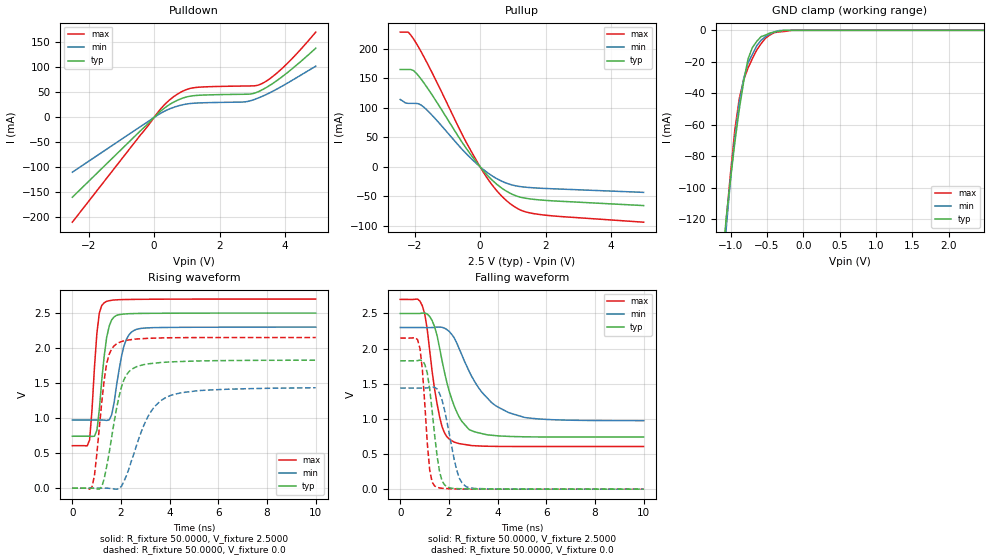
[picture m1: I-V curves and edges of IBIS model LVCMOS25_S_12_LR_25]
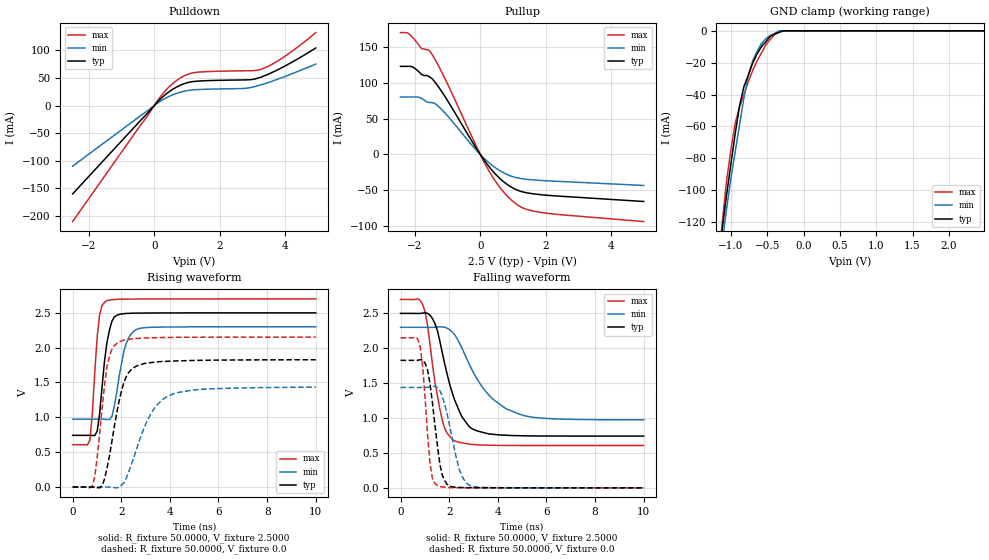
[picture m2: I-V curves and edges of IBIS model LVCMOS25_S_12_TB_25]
| / 7\'7
| \ \   Xilinx Inc.
| / /
| \_\/.\   IBIS Models for Spartan-3A
[IBIS ver]   3.2
[File name]   main.ibs
[File Rev]   2.3
[Date]   Sat Nov 30 15:29:39 2019
[Source]   HSPICE simulations
[Notes]   IBIS models for Spartan-3A Platform
[Disclaimer]
|   The data in this model is derived from SPICE simulations using
|   modeling information extracted from the target process. While
|   a great deal of care has been taken to provide information
|   that is accurate, this model is considered preliminary as it
|   has not been verified by actual silicon measurement. Treat the
|   data in this model as preliminary until actual silicon
|   verification is performed.
|   To accurately model package parasitics, please follow the
|   instructions at:  http://www.xilinx.com/xlnx/
|   xil_ans_display.jsp?getPagePath=11754
|   LVDS and LVPECL drivers require the use of external
|   termination resistors to provide the correct voltage levels.
|   For more information, refer to the Spartan-3 documentation.
|   NOTE: This file is compliant with IBIS Version 3.2, but it
|   may not implement all approved 3.2 features.
|   NOTE:  Newer versions of the buffer models may be available.
|   Check the web (http://www.xilinx.com/support/sw_ibis.htm) for
|   the latest file revision.  However, please be aware that the
|   web files are not compatible for use with IBISWriter, and
|   must be manually annotated, should their use be preferred.
[Copyright]
| Copyright 2006, Xilinx Inc., All rights reserved
|   Component Spartan-3A
[Component]   Spartan-3A
[Manufacturer]   Xilinx Inc.
[Package]
| For Package Type vq100
| variable   typ   min   max
R_pkg   91.25m   83.0m   100.0m
L_pkg   4.68nH   4.0nH   5.4nH
C_pkg   0.65pF   0.6pF   0.7pF
[Pin]  signal_name   model_name
P70   SevenSegBus<0>   LVCMOS25_S_12_LR_25
P64   SevenSegBus<1>   LVCMOS25_S_12_LR_25
P98   SevenSegBus<2>   LVCMOS25_S_12_TB_25
P73   SevenSegBus<3>   LVCMOS25_S_12_LR_25
P72   SevenSegBus<4>   LVCMOS25_S_12_LR_25
P65   SevenSegBus<5>   LVCMOS25_S_12_LR_25
P62   SevenSegBus<6>   LVCMOS25_S_12_LR_25
P71   SevenSegBus<7>   LVCMOS25_S_12_LR_25
P40   clk   LVCMOS25_S_12_TB_25
P35   Show   LVCMOS25_S_12_TB_25
P16   life<0>   LVCMOS25_S_12_LR_25
P13   life<1>   LVCMOS25_S_12_LR_25
P6   life<2>   LVCMOS25_S_12_LR_25
P78   UpDown   LVCMOS25_S_12_TB_25
P50   SevenSegControl<0>   LVCMOS25_S_12_TB_25
P49   SevenSegControl<1>   LVCMOS25_S_12_TB_25
P52   SevenSegControl<2>   LVCMOS25_S_12_TB_25
P56   SevenSegControl<3>   LVCMOS25_S_12_LR_25
P59   SevenSegControl<4>   LVCMOS25_S_12_LR_25
P57   SevenSegControl<5>   LVCMOS25_S_12_LR_25
P60   SevenSegControl<6>   LVCMOS25_S_12_LR_25
P61   SevenSegControl<7>   LVCMOS25_S_12_LR_25
P15   Switch<0>   LVCMOS25_S_12_LR_25
P12   Switch<1>   LVCMOS25_S_12_LR_25
P5   Switch<2>   LVCMOS25_S_12_LR_25
P4   Switch<3>   LVCMOS25_S_12_LR_25
P94   Switch<4>   LVCMOS25_S_12_TB_25
P90   Switch<5>   LVCMOS25_S_12_TB_25
P88   Switch<6>   LVCMOS25_S_12_TB_25
P85   Switch<7>   LVCMOS25_S_12_TB_25
P2   TDI   LVCMOS25_S_12_TB_25
P1   TMS   LVCMOS25_S_12_TB_25
P3   IO_L01P_3   NC
P7   IP_3/VREF_3   NC
P8   GND   GND
P9   LHCLK0   NC
P10   LHCLK1   NC
P11   VCCO_3   POWER
P14   GND   GND
P17   VCCINT   POWER
P18   GND   GND
P19   IO_L06P_3   NC
P20   IO_L06N_3   NC
P21   3   NC
P22   VCCAUX   POWER
P23   M1   LVCMOS25_S_12_TB_25
P25   M0   LVCMOS25_S_12_TB_25
P24   M2   LVCMOS25_S_12_TB_25
P27   CSO_B   LVCMOS25_S_12_TB_25
P26   VCCO_2   POWER
P28   RDWR_B   LVCMOS25_S_12_TB_25
P29   VS2   LVCMOS25_S_12_TB_25
P30   VS1   LVCMOS25_S_12_TB_25
P31   VS0   LVCMOS25_S_12_TB_25
P32   IO_L05P_2   NC
P33   IO_L06P_2   NC
P34   D7   LVCMOS25_S_12_TB_25
P36   D5   LVCMOS25_S_12_TB_25
P37   D4   LVCMOS25_S_12_TB_25
P38   VCCINT   POWER
P39   IP_2/VREF_2   NC
P41   GCLK15   NC
P42   GND   GND
P43   GCLK0   NC
P44   GCLK1   NC
P45   VCCO_2   POWER
P46   2/MOSI/CSI_B   NC
P47   GND   GND
P48   INIT_B   LVCMOS25_S_12_TB_25
P51   D0/DIN/MISO   LVCMOS25_S_12_TB_25
P53   CCLK   LVCMOS25_S_12_TB_25
P54   DONE   LVCMOS25_S_12_TB_25
P55   VCCAUX   POWER
P58   GND   GND
P63   GND   GND
P66   VCCINT   POWER
P67   VCCO_1   POWER
P68   IP_1/VREF_1   NC
P69   GND   GND
P74   GND   GND
P75   TDO   LVCMOS25_S_12_TB_25
P76   TCK   LVCMOS25_S_12_TB_25
P77   IO_L01P_0/VREF_0   NC
P80   GND   GND
P79   VCCO_0   POWER
P81   VCCINT   POWER
P83   GCLK4   NC
P84   GCLK5   NC
P82   IP_0/VREF_0   NC
P86   GCLK7   NC
P87   GND   GND
P89   GCLK9   NC
P91   GND   GND
P92   VCCAUX   POWER
P93   IO_L05P_0   NC
P96   VCCO_0   POWER
P95   GND   GND
P97   0   NC
P99   PUDC_B   LVCMOS25_S_12_TB_25
P100   PROG_B   LVCMOS25_S_12_TB_25
| Models and submodels in the file (2): LVCMOS25_S_12_LR_25 (I/O), LVCMOS25_S_12_TB_25 (I/O)
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|   Model LVCMOS25_S_12_LR_25
[Model]  LVCMOS25_S_12_LR_25
Model_type I/O
Polarity   Non-Inverting
Enable   Active-Low
Vinl =   0.7000V
Vinh =   1.7000V
Vmeas =  1.2500V
Cref =   0.0F
Rref =   1.0000M
Vref =   0.0V
C_comp   6.5640pF   6.1748pF   7.0674pF
[Temperature Range]   27.0000   85.0000   0.0
[Voltage Range]   2.5000V   2.3000V   2.7000V
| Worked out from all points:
|   slope of the pulldown table from 0 to 0.375 V, typ, clamps not added: 17.4 ohm
|   slope of the pullup table from 0 to 0.375 V, typ, clamps not added: 16.4 ohm
|   GND clamp passes 1 mA (typ) near -0.39 V on its own axis
|   rising waveform, R_fixture 50.0000, V_fixture 2.5000: 20-80 % time 309ps typ, 402ps min, 246ps max; typ from 0.741 V to 2.5 V
|   rising waveform, R_fixture 50.0000, V_fixture 0.0: 20-80 % time 593ps typ, 1.01ns min, 396ps max; typ from 0 V to 1.83 V
|   falling waveform, R_fixture 50.0000, V_fixture 2.5000: 20-80 % time 792ps typ, 1.35ns min, 515ps max; typ from 2.5 V to 0.742 V
|   falling waveform, R_fixture 50.0000, V_fixture 0.0: 20-80 % time 368ps typ, 508ps min, 267ps max; typ from 1.83 V to 0 V
[Pulldown]
|Voltage   I(typ)   I(min)   I(max)
-2.5V     -159.9mA   -109.8mA   -209.9mA
140mV     9.02mA     5.955mA    12.23mA
540mV     28.46mA    18.77mA    38.54mA
860mV     38.26mA    25.07mA    52mA
1.18V     43.25mA    28.19mA    59.07mA
2.78V     46.33mA    31.11mA    62.83mA
3.02V     47.67mA    34.87mA    63.08mA
3.26V     53.78mA    40.89mA    66.54mA
3.58V     65.97mA    50.78mA    79.56mA
3.98V     84.81mA    65.07mA    102.3mA
4.46V     110.7mA    83.66mA    134.7mA
4.94V     138.5mA    102.5mA    170.8mA
[Pullup]
|Voltage   I(typ)   I(min)   I(max)
-2.44V    164.6mA    113.8mA    227.9mA
-2.2V     164.6mA    107.3mA    227.9mA
-1.96V    158.9mA    107.3mA    209.9mA
-1.8V     148.2mA    104.3mA    194.5mA
-1.56V    129.3mA    92.53mA    169.4mA
-520mV    38.96mA    27.8mA     51.69mA
-40mV     2.817mA    1.95mA     3.801mA
440mV     -26.24mA   -17.88mA   -35.85mA
920mV     -44.84mA   -29.86mA   -62.44mA
1.32V     -52.59mA   -34.16mA   -75.09mA
1.8V      -55.98mA   -36.17mA   -80.61mA
5V        -65.68mA   -43.34mA   -93.79mA
[GND_clamp]
|Voltage   I(typ)   I(min)   I(max)
-2.5V     -904.1mA   -962.6mA   -1.02A
-1.12V    -152.2mA   -160.4mA   -158.5mA
-1.06V    -119.5mA   -126.2mA   -121mA
-940mV    -70.9mA    -68mA      -62.9mA
-880mV    -50.2mA    -46.2mA    -43.4mA
-820mV    -32.8mA    -30.8mA    -31.5mA
-760mV    -18.2mA    -20.7mA    -24mA
-700mV    -11mA      -15.3mA    -18mA
-580mV    -4mA       -6.3mA     -8.5mA
-400mV    -1.1mA     -1mA       -1.5mA
-160mV    0A         0A         0A
2.48V     0A         0A         0A
[POWER_clamp]
|Voltage   I(typ)   I(min)   I(max)
-2.49V    0A         0A         0A
-2.46V    0A         0A         0A
-2.43V    0A         0A         0A
0V        0A         0A         0A
[Ramp]
dV/dt_r  1.0956/0.5862n   0.8598/0.9979n   1.2900/0.3962n
dV/dt_f  1.0551/0.7920n   0.7953/1.3342n   1.2559/0.5052n
R_load = 50.0000
[Rising Waveform]
R_fixture= 50.0000
V_fixture= 2.5000
V_fixture_min= 2.3000
V_fixture_max= 2.7000
|time   V(typ)   V(min)   V(max)
0s        741.4mV    973.3mV    606.9mV
710ps     741.3mV    973.3mV    689.3mV
1.01ns    825.6mV    973.4mV    2.214V
1.11ns    1.123V     973.4mV    2.501V
1.21ns    1.546V     973.3mV    2.608V
1.41ns    2.151V     966.5mV    2.667V
1.62ns    2.403V     1.051V     2.682V
2.12ns    2.485V     2.028V     2.692V
2.63ns    2.493V     2.266V     2.695V
10ns      2.499V     2.299V     2.699V
[Rising Waveform]
R_fixture= 50.0000
V_fixture= 0.0
|time   V(typ)   V(min)   V(max)
0s        0V         0V         0V
810ps     278.4uV    -351nV     20.1mV
910ps     -2.334mV   -1.784uV   181mV
1.21ns    21.14mV    12.63uV    1.229V
1.41ns    307.8mV    486.8uV    1.781V
1.82ns    1.143V     -13.84mV   2.061V
2.32ns    1.661V     269.7mV    2.115V
3.13ns    1.775V     1.037V     2.139V
3.84ns    1.798V     1.293V     2.146V
10ns      1.826V     1.433V     2.15V
[Falling Waveform]
R_fixture= 50.0000
V_fixture= 2.5000
V_fixture_min= 2.3000
V_fixture_max= 2.7000
|time   V(typ)   V(min)   V(max)
0s        2.5V       2.3V       2.7V
910ps     2.505V     2.3V       2.607V
1.11ns    2.492V     2.299V     2.271V
1.31ns    2.399V     2.3V       1.675V
1.62ns    2.003V     2.306V     1.026V
2.12ns    1.277V     2.2V       688.2mV
2.83ns    848.3mV    1.677V     625.9mV
3.74ns    767.5mV    1.236V     609.7mV
4.44ns    751.2mV    1.092V     607.5mV
10ns      741.5mV    974.5mV    606.9mV
[Falling Waveform]
R_fixture= 50.0000
V_fixture= 0.0
|time   V(typ)   V(min)   V(max)
0s        1.827V     1.439V     2.15V
610ps     1.827V     1.439V     2.157V
810ps     1.836V     1.439V     2.003V
1.01ns    1.775V     1.439V     1.204V
1.21ns    1.425V     1.447V     270.8mV
1.41ns    776.9mV    1.45V      46.39mV
1.72ns    115.7mV    1.265V     12.95mV
2.32ns    8.435mV    272.2mV    3.137mV
2.73ns    4.539mV    30.57mV    1.395mV
10ns      1.172uV    117uV      58.56uV
|   Model LVCMOS25_S_12_TB_25
[Model]  LVCMOS25_S_12_TB_25
Model_type I/O
Polarity   Non-Inverting
Enable   Active-Low
Vinl =   0.7000V
Vinh =   1.7000V
Vmeas =  1.2500V
Cref =   0.0F
Rref =   1.0000M
Vref =   0.0V
C_comp   6.5640pF   6.1748pF   7.0674pF
[Temperature Range]   27.0000   85.0000   0.0
[Voltage Range]   2.5000V   2.3000V   2.7000V
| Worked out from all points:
|   slope of the pulldown table from 0 to 0.375 V, typ, clamps not added: 17.4 ohm
|   slope of the pullup table from 0 to 0.375 V, typ, clamps not added: 16.4 ohm
|   GND clamp passes 1 mA (typ) near -0.34 V on its own axis
|   rising waveform, R_fixture 50.0000, V_fixture 2.5000: 20-80 % time 334ps typ, 429ps min, 247ps max; typ from 0.741 V to 2.5 V
|   rising waveform, R_fixture 50.0000, V_fixture 0.0: 20-80 % time 609ps typ, 1.02ns min, 397ps max; typ from 0 V to 1.83 V
|   falling waveform, R_fixture 50.0000, V_fixture 2.5000: 20-80 % time 840ps typ, 1.44ns min, 552ps max; typ from 2.5 V to 0.742 V
|   falling waveform, R_fixture 50.0000, V_fixture 0.0: 20-80 % time 385ps typ, 550ps min, 278ps max; typ from 1.83 V to 0 V
[Pulldown]
|Voltage   I(typ)   I(min)   I(max)
-2.5V     -159.9mA   -109.7mA   -209.9mA
140mV     9.02mA     5.955mA    12.23mA
380mV     21.73mA    14.35mA    29.41mA
620mV     31.35mA    20.65mA    42.48mA
940mV     39.99mA    26.14mA    54.42mA
1.26V     43.77mA    28.56mA    59.79mA
2.78V     46.32mA    30.97mA    62.83mA
3.02V     47.28mA    33.45mA    63.07mA
3.26V     51.27mA    37.32mA    65.38mA
3.58V     59.1mA     43.46mA    73.84mA
3.98V     70.87mA    52.08mA    88.42mA
4.94V     104.1mA    74.91mA    131.9mA
[Pullup]
|Voltage   I(typ)   I(min)   I(max)
-2.44V    123.1mA    80.33mA    170.3mA
-2.2V     123.1mA    80.33mA    169.2mA
-1.8V     111.9mA    78.39mA    148mA
-1.56V    108.7mA    72.56mA    145.5mA
-1.48V    106.1mA    72.56mA    140.2mA
-1.16V    86.53mA    61.81mA    113.4mA
200mV     -13.04mA   -8.956mA   -17.71mA
600mV     -33.58mA   -22.74mA   -46.12mA
1.08V     -48.8mA    -32.15mA   -68.56mA
1.4V      -53.38mA   -34.61mA   -76.46mA
1.96V     -56.7mA    -36.63mA   -81.69mA
5V        -65.74mA   -43.34mA   -93.79mA
[GND_clamp]
|Voltage   I(typ)   I(min)   I(max)
-2.5V     -677.7mA   -618.7mA   -772.5mA
-1.12V    -125mA     -133.4mA   -121.2mA
-1.06V    -103.6mA   -112.3mA   -94.8mA
-940mV    -64.68mA   -75.98mA   -58mA
-880mV    -47mA      -59.03mA   -48mA
-820mV    -35mA      -42.08mA   -40mA
-760mV    -28mA      -28mA      -32mA
-640mV    -14.67mA   -13mA      -19mA
-580mV    -10mA      -8mA       -14mA
-460mV    -3.5mA     -3mA       -5.5mA
-340mV    -1mA       -3fA       -1mA
2.48V     0A         0A         0A
[POWER_clamp]
|Voltage   I(typ)   I(min)   I(max)
-2.49V    0A         0A         0A
-2.46V    0A         0A         0A
-2.43V    0A         0A         0A
0V        0A         0A         0A
[Ramp]
dV/dt_r  1.0956/0.6043n   0.8604/1.0142n   1.2900/0.3974n
dV/dt_f  1.0551/0.8392n   0.7954/1.4220n   1.2559/0.5422n
R_load = 50.0000
[Rising Waveform]
R_fixture= 50.0000
V_fixture= 2.5000
V_fixture_min= 2.3000
V_fixture_max= 2.7000
|time   V(typ)   V(min)   V(max)
0s        741.4mV    973.3mV    606.9mV
710ps     741.4mV    973.3mV    674.2mV
810ps     739.7mV    973.3mV    1.046V
1.01ns    801.5mV    973.4mV    2.149V
1.11ns    1.048V     973.4mV    2.471V
1.41ns    2.069V     968.1mV    2.675V
1.72ns    2.441V     1.167V     2.691V
2.12ns    2.488V     1.965V     2.696V
2.63ns    2.495V     2.261V     2.698V
10ns      2.499V     2.299V     2.7V
[Rising Waveform]
R_fixture= 50.0000
V_fixture= 0.0
|time   V(typ)   V(min)   V(max)
0s        0V         0V         0V
810ps     298uV      -497.5nV   8.107mV
1.01ns    -9.084mV   -2.353uV   421.2mV
1.21ns    15.13mV    4.964uV    1.121V
1.41ns    264.2mV    303.1uV    1.72V
1.82ns    1.074V     -11.92mV   2.06V
2.42ns    1.686V     329.4mV    2.124V
3.13ns    1.781V     992.4mV    2.14V
3.94ns    1.805V     1.306V     2.146V
10ns      1.826V     1.434V     2.15V
[Falling Waveform]
R_fixture= 50.0000
V_fixture= 2.5000
V_fixture_min= 2.3000
V_fixture_max= 2.7000
|time   V(typ)   V(min)   V(max)
0s        2.5V       2.3V       2.7V
910ps     2.504V     2.3V       2.627V
1.11ns    2.501V     2.299V     2.334V
1.41ns    2.359V     2.301V     1.53V
1.72ns    1.932V     2.306V     963.4mV
2.22ns    1.263V     2.197V     673.5mV
2.93ns    849.6mV    1.698V     621.2mV
4.34ns    753.7mV    1.133V     607.8mV
5.76ns    743.1mV    1.001V     606.9mV
10ns      741.5mV    974.3mV    606.9mV
[Falling Waveform]
R_fixture= 50.0000
V_fixture= 0.0
|time   V(typ)   V(min)   V(max)
0s        1.827V     1.439V     2.15V
810ps     1.836V     1.439V     2.018V
910ps     1.834V     1.439V     1.742V
1.21ns    1.498V     1.445V     359.5mV
1.52ns    598.7mV    1.436V     31.89mV
1.72ns    181mV      1.308V     11.63mV
1.92ns    48.9mV     1.05V      6.942mV
2.42ns    5.543mV    259.6mV    1.61mV
2.83ns    2.931mV    39.68mV    791.3uV
10ns      5.195uV    41.11uV    -3.669uV
